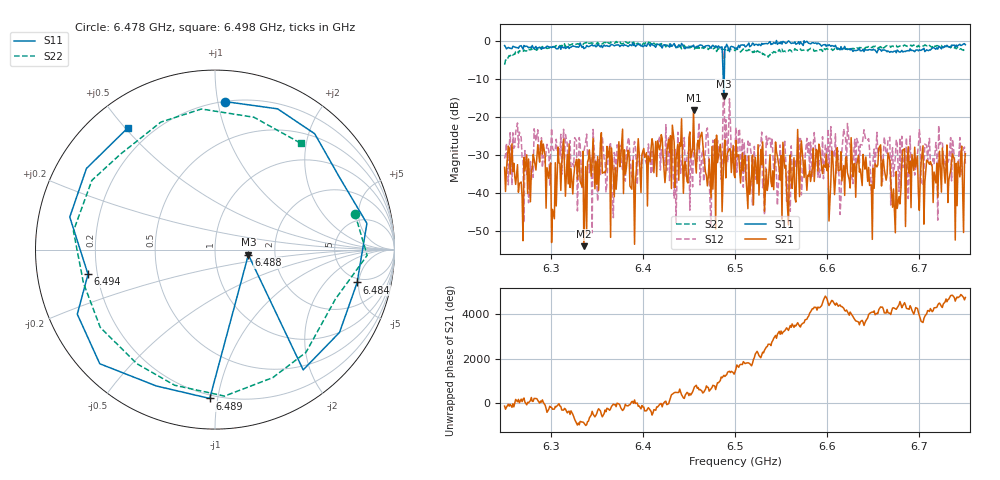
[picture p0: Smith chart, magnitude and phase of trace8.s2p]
# Hz S RI R 50
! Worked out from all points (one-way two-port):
!   401 points, 6.25 GHz to 6.75 GHz, reference 50 ohm
!   highest |S21| = -18.23 dB at 6.455 GHz (marker M1); lowest = -54.0 dB at 6.336 GHz (marker M2)
!   lowest |S11| = -14.5 dB at 6.488 GHz (marker M3), VSWR 1.46, Z = 72.7 - j4.34 ohm
!   |S11| at or under -10 dB: 6.4873 GHz to 6.48835 GHz (1.05 MHz wide, 0.0162 % of centre)
!   |S22| runs from -6.2 to 0.0 dB; largest |S21 - S12| = 0.75
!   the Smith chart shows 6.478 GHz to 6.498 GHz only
!   S11 on the Smith chart (normalised r, x): 6.478 GHz: 0.20, +1.05; 6.484 GHz: 4.42, -4.77; 6.488 GHz: 1.45, -0.09; 6.489 GHz: 0.18, -0.95; 6.494 GHz: 0.16, -0.09; 6.498 GHz: 0.11, +0.51
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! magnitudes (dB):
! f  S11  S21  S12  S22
! 6.25 GHz  -1.2  -33.3  -31.0  -6.2
! 6.291 GHz  -1.8  -29.8  -33.4  -1.5
! 6.304 GHz  -1.5  -46.8  -29.0  -1.6
! 6.311 GHz  -2.2  -39.3  -24.6  -1.3
! 6.334 GHz  -1.7  -38.3  -38.6  -0.9
! 6.336 GHz  -2.0  -54.0  -29.1  -0.7
! 6.344 GHz  -1.2  -35.6  -30.6  -0.6
! 6.389 GHz  -0.5  -31.4  -33.8  -0.6
! 6.418 GHz  -0.9  -28.6  -25.1  -1.0
! 6.455 GHz  -1.1  -18.2  -27.0  -1.8
! 6.478 GHz  -1.7  -26.0  -31.4  -1.9
! 6.484 GHz  -1.8  -27.2  -30.4  -1.7
! 6.488 GHz  -14.5  -29.2  -2.7  -2.2
! 6.489 GHz  -1.6  -26.1  -32.4  -2.4
! 6.494 GHz  -2.8  -28.4  -15.2  -2.2
! 6.498 GHz  -1.6  -27.5  -32.2  -2.4
! 6.5 GHz  -2.1  -36.0  -27.9  -2.5
! 6.538 GHz  -0.2  -29.9  -25.6  -3.6
! 6.558 GHz  0.0  -48.4  -34.2  -2.6
! 6.584 GHz  -0.5  -33.4  -35.9  -2.3
! 6.668 GHz  -3.0  -31.4  -25.3  -1.3
! 6.75 GHz  -1.0  -29.7  -32.3  -2.2
